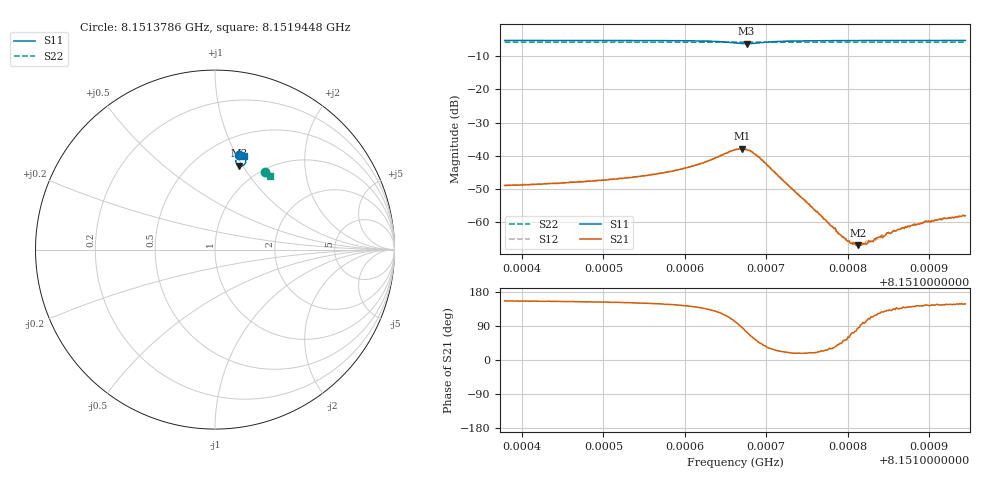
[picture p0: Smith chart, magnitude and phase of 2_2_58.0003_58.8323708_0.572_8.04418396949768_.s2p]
#  HZ  S  RI  R  50.00
! Rohde & Schwarz Vector Network Analyzer
! Rohde-Schwarz,ZNB20-2Port,1311601062101988,3.16
! Created: UTC 3/21/2024, 12:50:19 AM
! freq[Hz]  re:S11  im:S11  re:S21  im:S21  re:S12  im:S12  re:S22  im:S22
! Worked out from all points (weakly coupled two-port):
!   401 points, 8.1513786 GHz to 8.1519448 GHz, reference 50 ohm
!   highest |S21| = -37.89 dB at 8.1516702 GHz (marker M1); lowest = -67.0 dB at 8.1518132 GHz (marker M2)
!   lowest |S11| = -6.3 dB at 8.1516759 GHz (marker M3), VSWR 2.89, Z = 39.5 + j48.3 ohm
!   |S11| at or under -10 dB: nowhere
!   |S22| runs from -5.8 to -5.8 dB; largest |S21 - S12| = 0.00027
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8.15137861e9  0.1355 0.5269  -0.00326 0.00144  -0.00328 0.0015  0.2765 0.4334
8.15147345e9  0.1443 0.5243  -0.00362 0.00181  -0.00363 0.00188  0.2816 0.4301
8.1515145e9  0.1487 0.5227  -0.00394 0.00208  -0.00392 0.00212  0.2839 0.4285
8.15156828e9  0.1561 0.519  -0.00459 0.00283  -0.00458 0.00291  0.2868 0.4264
8.151615e9  0.1657 0.5101  -0.00552 0.00476  -0.00548 0.00485  0.2894 0.4241
8.15166171e9  0.1617 0.4724  -0.00251 0.0121  -0.0025 0.0121  0.2909 0.4212
8.1516702e9  0.147 0.4658  0.000933 0.0127  0.000916 0.0127  0.2906 0.421
8.15167586e9  0.135 0.4668  0.00335 0.0119  0.00335 0.0121  0.2905 0.4209
8.15168436e9  0.1214 0.4767  0.00586 0.00918  0.00597 0.00935  0.2907 0.4212
8.15169426e9  0.1159 0.4921  0.00632 0.00595  0.00659 0.00599  0.2913 0.4218
8.15175655e9  0.1378 0.5206  0.00158 0.000536  0.00159 0.000554  0.2956 0.4201
8.15179052e9  0.1451 0.5217  0.000469 0.000456  0.000517 0.000426  0.2975 0.4186
8.1517976e9  0.1464 0.5217  0.000329 0.000444  0.000375 0.000452  0.2979 0.4186
8.15180184e9  0.1471 0.5216  0.000264 0.00045  0.000226 0.000447  0.2982 0.4182
8.15181317e9  0.1487 0.5215  3.87e-05 0.000445  4.54e-05 0.000451  0.2988 0.4179
8.15182166e9  0.15 0.5215  -7.45e-05 0.000465  -7.25e-05 0.000478  0.2994 0.4175
8.15183723e9  0.152 0.5213  -0.000313 0.000492  -0.00028 0.000477  0.3002 0.417
8.15184289e9  0.1526 0.5213  -0.000348 0.000464  -0.000369 0.000515  0.3004 0.4166
8.15185138e9  0.1536 0.5211  -0.000467 0.000509  -0.000446 0.000534  0.3009 0.4164
8.1518712e9  0.1558 0.5208  -0.00064 0.000577  -0.000597 0.000574  0.302 0.4156
8.15189668e9  0.1585 0.5203  -0.000845 0.000599  -0.000786 0.000599  0.3034 0.4145
8.15194481e9  0.163 0.5193  -0.00106 0.000663  -0.00107 0.000688  0.3057 0.4127
